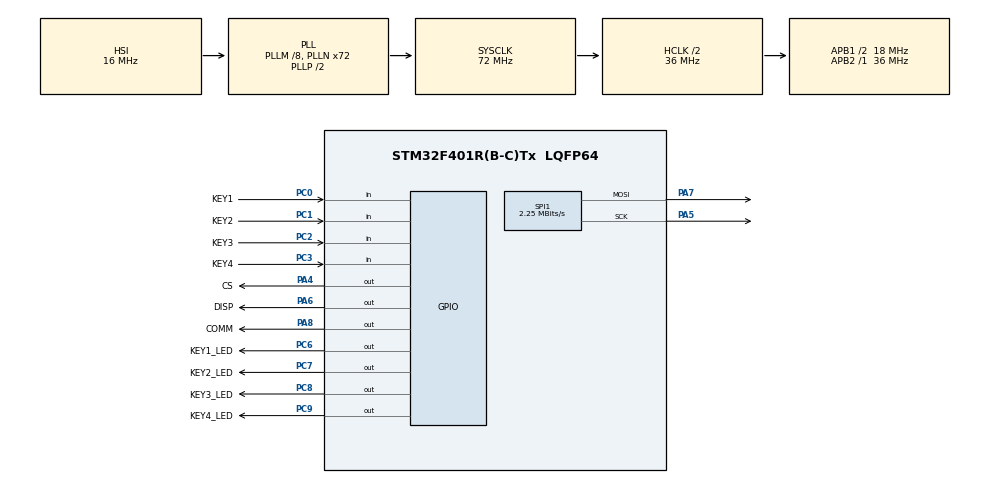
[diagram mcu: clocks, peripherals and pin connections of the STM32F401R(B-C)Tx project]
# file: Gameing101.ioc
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Mcu.Family=STM32F4
Mcu.Name=STM32F401R(B-C)Tx
Mcu.Package=LQFP64
NVIC.PriorityGroup=NVIC_PRIORITYGROUP_4
NVIC.TIM1_UP_TIM10_IRQn=true\:0\:0\:false\:false\:true\:true\:true\:true
NVIC.TIM2_IRQn=true\:0\:0\:false\:false\:true\:true\:true\:true
PA13.Mode=Serial_Wire
PA13.Signal=SYS_JTMS-SWDIO
PA14.Mode=Serial_Wire
PA14.Signal=SYS_JTCK-SWCLK
PA4.GPIO_Label=CS
PA4.Signal=GPIO_Output
PA5.Mode=TX_Only_Simplex_Unidirect_Master
PA5.Signal=SPI1_SCK
PA6.GPIO_Label=DISP
PA6.PinState=GPIO_PIN_SET
PA6.Signal=GPIO_Output
PA7.Mode=TX_Only_Simplex_Unidirect_Master
PA7.Signal=SPI1_MOSI
PA8.GPIO_Label=COMM
PA8.Signal=GPIO_Output
PC0.GPIO_Label=KEY1
PC0.Signal=GPIO_Input
PC1.GPIO_Label=KEY2
PC1.Signal=GPIO_Input
PC2.GPIO_Label=KEY3
PC2.Signal=GPIO_Input
PC3.GPIO_Label=KEY4
PC3.Signal=GPIO_Input
PC6.GPIO_Label=KEY1_LED
PC6.PinState=GPIO_PIN_SET
PC6.Signal=GPIO_Output
PC7.GPIO_Label=KEY2_LED
PC7.PinState=GPIO_PIN_SET
PC7.Signal=GPIO_Output
PC8.GPIO_Label=KEY3_LED
PC8.PinState=GPIO_PIN_SET
PC8.Signal=GPIO_Output
PC9.GPIO_Label=KEY4_LED
PC9.PinState=GPIO_PIN_SET
PC9.Signal=GPIO_Output
PH0\ -\ OSC_IN.Mode=HSE-External-Oscillator
PH0\ -\ OSC_IN.Signal=RCC_OSC_IN
PH1\ -\ OSC_OUT.Mode=HSE-External-Oscillator
PH1\ -\ OSC_OUT.Signal=RCC_OSC_OUT
ProjectManager.HeapSize=0x200
ProjectManager.StackSize=0x400
ProjectManager.TargetToolchain=STM32CubeIDE
RCC.48MHZClocksFreq_Value=36000000
RCC.AHBCLKDivider=RCC_SYSCLK_DIV2
RCC.AHBFreq_Value=36000000
RCC.APB1CLKDivider=RCC_HCLK_DIV2
RCC.APB1Freq_Value=18000000
RCC.APB1TimFreq_Value=36000000
RCC.APB2Freq_Value=36000000
RCC.APB2TimFreq_Value=36000000
RCC.CortexFreq_Value=36000000
RCC.HCLKFreq_Value=36000000
RCC.HSE_VALUE=8000000
RCC.HSI_VALUE=16000000
RCC.LSE_VALUE=32768
RCC.PLLM=8
RCC.PLLN=72
RCC.SYSCLKFreq_VALUE=72000000
RCC.SYSCLKSource=RCC_SYSCLKSOURCE_PLLCLK
RCC.VCOOutputFreq_Value=144000000
SPI1.BaudRatePrescaler=SPI_BAUDRATEPRESCALER_16
SPI1.CalculateBaudRate=2.25 MBits/s
SPI1.Direction=SPI_DIRECTION_2LINES
SPI1.Mode=SPI_MODE_MASTER
SPI1.VirtualType=VM_MASTER
TIM1.Period=500 - 1
TIM1.Prescaler=36000 - 1
TIM2.Period=100 - 1
TIM2.Prescaler=1000 - 1
VP_TIM1_VS_ClockSourceINT.Mode=Internal
VP_TIM2_VS_ClockSourceINT.Mode=Internal
board=custom

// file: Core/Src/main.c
/* USER CODE BEGIN Header */
/**
 ******************************************************************************
 * @file           : main.c
 * @brief          : Main program body
 ******************************************************************************
 * @attention
 *
 * Copyright (c) 2022 STMicroelectronics.
 * All rights reserved.
 *
 * This software is licensed under terms that can be found in the LICENSE file
 * in the root directory of this software component.
 * If no LICENSE file comes with this software, it is provided AS-IS.
 *
 ******************************************************************************
 */
/* USER CODE END Header */
#include "main.h"

/* USER CODE BEGIN Includes */
#include "LS013B4DN04.h"
#include "buttons.h"
#include "dino_game.h"

/* USER CODE END Includes */

/* USER CODE BEGIN PTD */
#define CS_Pin GPIO_PIN_4
#define DISP_Pin GPIO_PIN_6
/* USER CODE END PTD */

/* USER CODE BEGIN PD */
#define COMM_TOGGLE HAL_GPIO_TogglePin(COMM_GPIO_Port, COMM_Pin)

#define KEY1_LED_ON  HAL_GPIO_WritePin(KEY1_LED_GPIO_Port, KEY1_LED_Pin, GPIO_PIN_RESET)
#define KEY1_LED_OFF  HAL_GPIO_WritePin(KEY1_LED_GPIO_Port, KEY1_LED_Pin, GPIO_PIN_SET)
#define KEY1_LED_TOGGLE  HAL_GPIO_TogglePin(KEY1_LED_GPIO_Port, KEY1_LED_Pin)
#define KEY2_LED_ON  HAL_GPIO_WritePin(KEY2_LED_GPIO_Port, KEY2_LED_Pin, GPIO_PIN_RESET)
#define KEY2_LED_OFF  HAL_GPIO_WritePin(KEY2_LED_GPIO_Port, KEY2_LED_Pin, GPIO_PIN_SET)
#define KEY2_LED_TOGGLE  HAL_GPIO_TogglePin(KEY2_LED_GPIO_Port, KEY2_LED_Pin)
#define KEY3_LED_ON  HAL_GPIO_WritePin(KEY3_LED_GPIO_Port, KEY3_LED_Pin, GPIO_PIN_RESET)
#define KEY3_LED_OFF  HAL_GPIO_WritePin(KEY3_LED_GPIO_Port, KEY3_LED_Pin, GPIO_PIN_SET)
#define KEY3_LED_TOGGLE  HAL_GPIO_TogglePin(KEY3_LED_GPIO_Port, KEY3_LED_Pin)
#define KEY4_LED_ON  HAL_GPIO_WritePin(KEY4_LED_GPIO_Port, KEY4_LED_Pin, GPIO_PIN_RESET)
#define KEY4_LED_OFF  HAL_GPIO_WritePin(KEY4_LED_GPIO_Port, KEY4_LED_Pin, GPIO_PIN_SET)
#define KEY4_LED_TOGGLE  HAL_GPIO_TogglePin(KEY4_LED_GPIO_Port, KEY1_LED_Pin)
/* USER CODE END PD */

SPI_HandleTypeDef hspi1;

TIM_HandleTypeDef htim1;
TIM_HandleTypeDef htim2;

/* USER CODE BEGIN PV */
LS013B4DN04 MemDisp;
/* USER CODE END PV */

void SystemClock_Config(void);
static void MX_GPIO_Init(void);
static void MX_SPI1_Init(void);
static void MX_TIM1_Init(void);
static void MX_TIM2_Init(void);

int main(void) {

	/* MCU Configuration--------------------------------------------------------*/

	/* Reset of all peripherals, Initializes the Flash interface and the Systick. */
	HAL_Init();

	/* Configure the system clock */
	SystemClock_Config();

	/* Initialize all configured peripherals */
	MX_GPIO_Init();
	MX_SPI1_Init();
	MX_TIM1_Init();
	MX_TIM2_Init();
	/* USER CODE BEGIN 2 */
	HAL_TIM_Base_Start_IT(&htim1);
	HAL_TIM_Base_Start_IT(&htim2);

	// ALL GPIO AND BUSES MUST BE INITED BEFORE CALL THIS FUNCTION
	LCD_Init(&MemDisp, &hspi1, GPIOA, CS_Pin);
	GenerateGameBuffers();
	/* USER CODE END 2 */

	/* Infinite loop */
	while (1) {

		/* USER CODE BEGIN 3 */
		GamePrep(&MemDisp);

		while (1) {
			if (GameTick(&MemDisp) == DINO_IS_DEAD)
				break;
		}
	}
	/* USER CODE END 3 */
}

void SystemClock_Config(void) {
	RCC_OscInitTypeDef RCC_OscInitStruct = { 0 };
	RCC_ClkInitTypeDef RCC_ClkInitStruct = { 0 };

	/** Configure the main internal regulator output voltage
	 */
	__HAL_RCC_PWR_CLK_ENABLE();
	__HAL_PWR_VOLTAGESCALING_CONFIG(PWR_REGULATOR_VOLTAGE_SCALE2);

	/** Initializes the RCC Oscillators according to the specified parameters
	 * in the RCC_OscInitTypeDef structure.
	 */
	RCC_OscInitStruct.OscillatorType = RCC_OSCILLATORTYPE_HSI;
	RCC_OscInitStruct.HSIState = RCC_HSI_ON;
	RCC_OscInitStruct.HSICalibrationValue = RCC_HSICALIBRATION_DEFAULT;
	RCC_OscInitStruct.PLL.PLLState = RCC_PLL_ON;
	RCC_OscInitStruct.PLL.PLLSource = RCC_PLLSOURCE_HSI;
	RCC_OscInitStruct.PLL.PLLM = 8;
	RCC_OscInitStruct.PLL.PLLN = 72;
	RCC_OscInitStruct.PLL.PLLP = RCC_PLLP_DIV2;
	RCC_OscInitStruct.PLL.PLLQ = 4;
	if (HAL_RCC_OscConfig(&RCC_OscInitStruct) != HAL_OK) {
		Error_Handler();
	}

	/** Initializes the CPU, AHB and APB buses clocks
	 */
	RCC_ClkInitStruct.ClockType = RCC_CLOCKTYPE_HCLK | RCC_CLOCKTYPE_SYSCLK
			| RCC_CLOCKTYPE_PCLK1 | RCC_CLOCKTYPE_PCLK2;
	RCC_ClkInitStruct.SYSCLKSource = RCC_SYSCLKSOURCE_PLLCLK;
	RCC_ClkInitStruct.AHBCLKDivider = RCC_SYSCLK_DIV2;
	RCC_ClkInitStruct.APB1CLKDivider = RCC_HCLK_DIV2;
	RCC_ClkInitStruct.APB2CLKDivider = RCC_HCLK_DIV1;

	if (HAL_RCC_ClockConfig(&RCC_ClkInitStruct, FLASH_LATENCY_1) != HAL_OK) {
		Error_Handler();
	}
}

static void MX_SPI1_Init(void) {

	/* SPI1 parameter configuration*/
	hspi1.Instance = SPI1;
	hspi1.Init.Mode = SPI_MODE_MASTER;
	hspi1.Init.Direction = SPI_DIRECTION_2LINES;
	hspi1.Init.DataSize = SPI_DATASIZE_8BIT;
	hspi1.Init.CLKPolarity = SPI_POLARITY_LOW;
	hspi1.Init.CLKPhase = SPI_PHASE_1EDGE;
	hspi1.Init.NSS = SPI_NSS_SOFT;
	hspi1.Init.BaudRatePrescaler = SPI_BAUDRATEPRESCALER_16;
	hspi1.Init.FirstBit = SPI_FIRSTBIT_MSB;
	hspi1.Init.TIMode = SPI_TIMODE_DISABLE;
	hspi1.Init.CRCCalculation = SPI_CRCCALCULATION_DISABLE;
	hspi1.Init.CRCPolynomial = 10;
	if (HAL_SPI_Init(&hspi1) != HAL_OK) {
		Error_Handler();
	}

}

static void MX_TIM1_Init(void) {

	TIM_ClockConfigTypeDef sClockSourceConfig = { 0 };
	TIM_MasterConfigTypeDef sMasterConfig = { 0 };

	htim1.Instance = TIM1;
	htim1.Init.Prescaler = 36000 - 1;
	htim1.Init.CounterMode = TIM_COUNTERMODE_UP;
	htim1.Init.Period = 500 - 1;
	htim1.Init.ClockDivision = TIM_CLOCKDIVISION_DIV1;
	htim1.Init.RepetitionCounter = 0;
	htim1.Init.AutoReloadPreload = TIM_AUTORELOAD_PRELOAD_DISABLE;
	if (HAL_TIM_Base_Init(&htim1) != HAL_OK) {
		Error_Handler();
	}
	sClockSourceConfig.ClockSource = TIM_CLOCKSOURCE_INTERNAL;
	if (HAL_TIM_ConfigClockSource(&htim1, &sClockSourceConfig) != HAL_OK) {
		Error_Handler();
	}
	sMasterConfig.MasterOutputTrigger = TIM_TRGO_RESET;
	sMasterConfig.MasterSlaveMode = TIM_MASTERSLAVEMODE_DISABLE;
	if (HAL_TIMEx_MasterConfigSynchronization(&htim1, &sMasterConfig)
			!= HAL_OK) {
		Error_Handler();
	}

}

static void MX_TIM2_Init(void) {

	TIM_ClockConfigTypeDef sClockSourceConfig = { 0 };
	TIM_MasterConfigTypeDef sMasterConfig = { 0 };

	htim2.Instance = TIM2;
	htim2.Init.Prescaler = 1000 - 1;
	htim2.Init.CounterMode = TIM_COUNTERMODE_UP;
	htim2.Init.Period = 100 - 1;
	htim2.Init.ClockDivision = TIM_CLOCKDIVISION_DIV1;
	htim2.Init.AutoReloadPreload = TIM_AUTORELOAD_PRELOAD_DISABLE;
	if (HAL_TIM_Base_Init(&htim2) != HAL_OK) {
		Error_Handler();
	}
	sClockSourceConfig.ClockSource = TIM_CLOCKSOURCE_INTERNAL;
	if (HAL_TIM_ConfigClockSource(&htim2, &sClockSourceConfig) != HAL_OK) {
		Error_Handler();
	}
	sMasterConfig.MasterOutputTrigger = TIM_TRGO_RESET;
	sMasterConfig.MasterSlaveMode = TIM_MASTERSLAVEMODE_DISABLE;
	if (HAL_TIMEx_MasterConfigSynchronization(&htim2, &sMasterConfig)
			!= HAL_OK) {
		Error_Handler();
	}

}

static void MX_GPIO_Init(void) {
	GPIO_InitTypeDef GPIO_InitStruct = { 0 };

	/* GPIO Ports Clock Enable */
	__HAL_RCC_GPIOH_CLK_ENABLE();
	__HAL_RCC_GPIOC_CLK_ENABLE();
	__HAL_RCC_GPIOA_CLK_ENABLE();

	/*Configure GPIO pin Output Level */
	HAL_GPIO_WritePin(GPIOA, CS_Pin | COMM_Pin, GPIO_PIN_RESET);

	/*Configure GPIO pin Output Level */
	HAL_GPIO_WritePin(DISP_GPIO_Port, DISP_Pin, GPIO_PIN_SET);

	/*Configure GPIO pin Output Level */
	HAL_GPIO_WritePin(GPIOC,
			KEY1_LED_Pin | KEY2_LED_Pin | KEY3_LED_Pin | KEY4_LED_Pin,
			GPIO_PIN_SET);

	/*Configure GPIO pins : KEY1_Pin KEY2_Pin KEY3_Pin KEY4_Pin */
	GPIO_InitStruct.Pin = KEY1_Pin | KEY2_Pin | KEY3_Pin | KEY4_Pin;
	GPIO_InitStruct.Mode = GPIO_MODE_INPUT;
	GPIO_InitStruct.Pull = GPIO_NOPULL;
	HAL_GPIO_Init(GPIOC, &GPIO_InitStruct);

	/*Configure GPIO pins : CS_Pin DISP_Pin COMM_Pin */
	GPIO_InitStruct.Pin = CS_Pin | DISP_Pin | COMM_Pin;
	GPIO_InitStruct.Mode = GPIO_MODE_OUTPUT_PP;
	GPIO_InitStruct.Pull = GPIO_NOPULL;
	GPIO_InitStruct.Speed = GPIO_SPEED_FREQ_LOW;
	HAL_GPIO_Init(GPIOA, &GPIO_InitStruct);

	/*Configure GPIO pins : KEY1_LED_Pin KEY2_LED_Pin KEY3_LED_Pin KEY4_LED_Pin */
	GPIO_InitStruct.Pin = KEY1_LED_Pin | KEY2_LED_Pin | KEY3_LED_Pin
			| KEY4_LED_Pin;
	GPIO_InitStruct.Mode = GPIO_MODE_OUTPUT_PP;
	GPIO_InitStruct.Pull = GPIO_NOPULL;
	GPIO_InitStruct.Speed = GPIO_SPEED_FREQ_LOW;
	HAL_GPIO_Init(GPIOC, &GPIO_InitStruct);

}

/* USER CODE BEGIN 4 */
void HAL_TIM_PeriodElapsedCallback(TIM_HandleTypeDef *htim) {
	if (htim == &htim1) {
		// fEXTCOMIN = 1Hz (typ val)
		COMM_TOGGLE;
		KEY1_LED_TOGGLE;
	}
	if (htim == &htim2) {
		KeyScan();
	}
}
/* USER CODE END 4 */

void Error_Handler(void) {
	__disable_irq();
	while (1) {
	}
}
